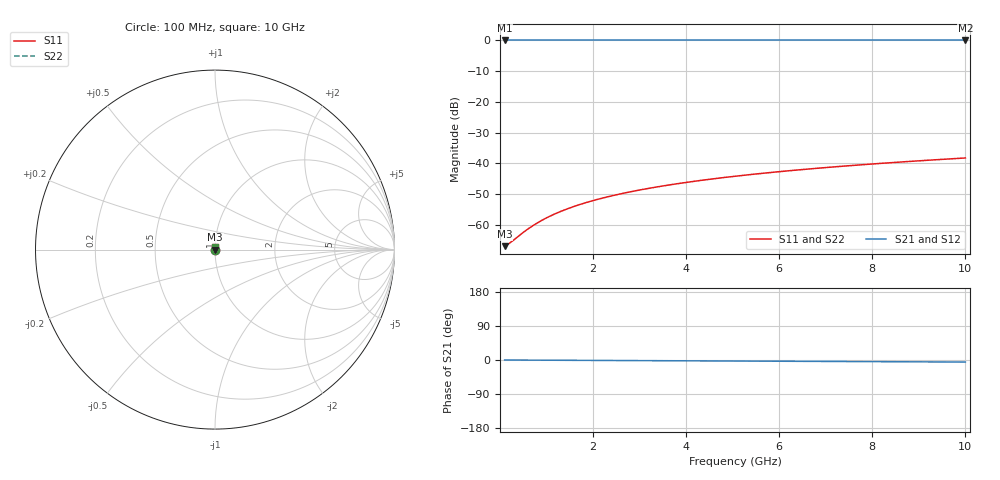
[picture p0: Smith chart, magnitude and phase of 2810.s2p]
# Hz S RI R 50.00
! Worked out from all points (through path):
!   100 points, 100 MHz to 10 GHz, reference 50 ohm
!   highest |S21| = 0.00 dB at 100 MHz (marker M1); lowest = 0.0 dB at 10 GHz (marker M2)
!   lowest |S11| = -66.9 dB at 100 MHz (marker M3), VSWR 1.00, Z = 50 + j0.0122 ohm
!   |S11| at or under -10 dB: start of sweep to end of sweep
!   |S22| runs from -66.9 to -38.2 dB; largest |S21 - S12| = 0
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1e8  0.000435 0.000122  0.9996 -0.00094  0.9996 -0.00094  0.000435 0.000122
2e8  0.000438 0.000244  0.9996 -0.00188  0.9996 -0.00188  0.000438 0.000244
5e8  0.000445 0.000611  0.9995 -0.0047  0.9995 -0.0047  0.000445 0.000611
6e8  0.000447 0.000733  0.9995 -0.00564  0.9995 -0.00564  0.000447 0.000733
7e8  0.000449 0.000855  0.9995 -0.00658  0.9995 -0.00658  0.000449 0.000855
9e8  0.000454 0.0011  0.9995 -0.00846  0.9995 -0.00846  0.000454 0.0011
1.1e9  0.00046 0.00134  0.9995 -0.0103  0.9995 -0.0103  0.00046 0.00134
1.3e9  0.000467 0.00159  0.9995 -0.0122  0.9995 -0.0122  0.000467 0.00159
1.5e9  0.000474 0.00183  0.9994 -0.0141  0.9994 -0.0141  0.000474 0.00183
1.8e9  0.000486 0.0022  0.9994 -0.0169  0.9994 -0.0169  0.000486 0.0022
2.1e9  0.000501 0.00256  0.9993 -0.0198  0.9993 -0.0198  0.000501 0.00256
2.5e9  0.000523 0.00305  0.9992 -0.0235  0.9992 -0.0235  0.000523 0.00305
2.9e9  0.000548 0.00354  0.9991 -0.0273  0.9991 -0.0273  0.000548 0.00354
3.4e9  0.000585 0.00414  0.999 -0.032  0.999 -0.032  0.000585 0.00414
3.8e9  0.000619 0.00463  0.9989 -0.0358  0.9989 -0.0358  0.000619 0.00463
4.2e9  0.000657 0.00512  0.9987 -0.0395  0.9987 -0.0395  0.000657 0.00512
5.1e9  0.000754 0.00621  0.9983 -0.048  0.9983 -0.048  0.000754 0.00621
5.9e9  0.000856 0.00718  0.9979 -0.0556  0.9979 -0.0556  0.000856 0.00718
6.7e9  0.000974 0.00815  0.9975 -0.0632  0.9975 -0.0632  0.000974 0.00815
7.5e9  0.00111 0.00912  0.9969 -0.0708  0.9969 -0.0708  0.00111 0.00912
8.4e9  0.00127 0.0102  0.9963 -0.0793  0.9963 -0.0793  0.00127 0.0102
1e10  0.00162 0.0122  0.9949 -0.0945  0.9949 -0.0945  0.00162 0.0122
